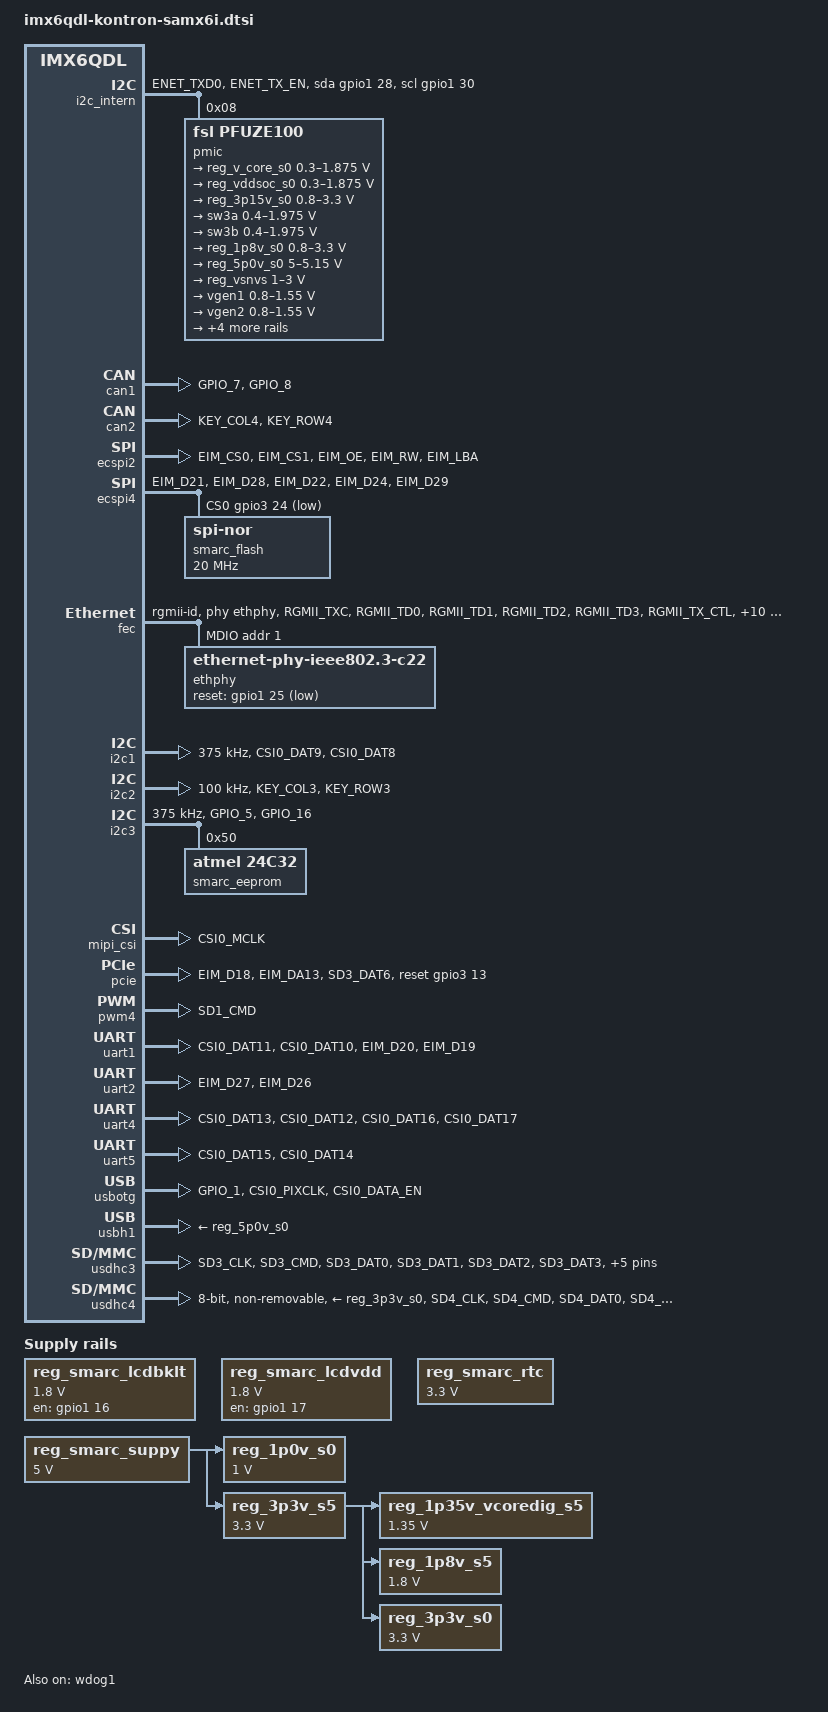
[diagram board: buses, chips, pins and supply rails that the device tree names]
// SPDX-License-Identifier: GPL-2.0 OR X11
/*
 * Copyright 2017 (C) Priit Laes <plaes@plaes.org>
 * Copyright 2018 (C) Pengutronix, Michael Grzeschik <mgr@pengutronix.de>
 * Copyright 2019 (C) Pengutronix, Marco Felsch <kernel@pengutronix.de>
 *
 * Based on initial work by Nikita Yushchenko <nyushchenko at dev.rtsoft.ru>
 */

#include <dt-bindings/gpio/gpio.h>
#include <dt-bindings/sound/fsl-imx-audmux.h>

/ {
	reg_1p0v_s0: regulator-1p0v-s0 {
		compatible = "regulator-fixed";
		regulator-name = "V_1V0_S0";
		regulator-min-microvolt = <1000000>;
		regulator-max-microvolt = <1000000>;
		regulator-always-on;
		regulator-boot-on;
		vin-supply = <&reg_smarc_suppy>;
	};

	reg_1p35v_vcoredig_s5: regulator-1p35v-vcoredig-s5 {
		compatible = "regulator-fixed";
		regulator-name = "V_1V35_VCOREDIG_S5";
		regulator-min-microvolt = <1350000>;
		regulator-max-microvolt = <1350000>;
		regulator-always-on;
		regulator-boot-on;
		vin-supply = <&reg_3p3v_s5>;
	};

	reg_1p8v_s5: regulator-1p8v-s5 {
		compatible = "regulator-fixed";
		regulator-name = "V_1V8_S5";
		regulator-min-microvolt = <1800000>;
		regulator-max-microvolt = <1800000>;
		regulator-always-on;
		regulator-boot-on;
		vin-supply = <&reg_3p3v_s5>;
	};

	reg_3p3v_s0: regulator-3p3v-s0 {
		compatible = "regulator-fixed";
		regulator-name = "V_3V3_S0";
		regulator-min-microvolt = <3300000>;
		regulator-max-microvolt = <3300000>;
		regulator-always-on;
		regulator-boot-on;
		vin-supply = <&reg_3p3v_s5>;
	};

	reg_3p3v_s5: regulator-3p3v-s5 {
		compatible = "regulator-fixed";
		regulator-name = "V_3V3_S5";
		regulator-min-microvolt = <3300000>;
		regulator-max-microvolt = <3300000>;
		regulator-always-on;
		regulator-boot-on;
		vin-supply = <&reg_smarc_suppy>;
	};

	reg_smarc_lcdbklt: regulator-smarc-lcdbklt {
		compatible = "regulator-fixed";
		pinctrl-names = "default";
		pinctrl-0 = <&pinctrl_lcdbklt_en>;
		regulator-name = "LCD_BKLT_EN";
		regulator-min-microvolt = <1800000>;
		regulator-max-microvolt = <1800000>;
		gpio = <&gpio1 16 GPIO_ACTIVE_HIGH>;
		enable-active-high;
	};

	reg_smarc_lcdvdd: regulator-smarc-lcdvdd {
		compatible = "regulator-fixed";
		pinctrl-names = "default";
		pinctrl-0 = <&pinctrl_lcdvdd_en>;
		regulator-name = "LCD_VDD_EN";
		regulator-min-microvolt = <1800000>;
		regulator-max-microvolt = <1800000>;
		gpio = <&gpio1 17 GPIO_ACTIVE_HIGH>;
		enable-active-high;
	};

	reg_smarc_rtc: regulator-smarc-rtc {
		compatible = "regulator-fixed";
		regulator-name = "V_IN_RTC_BATT";
		regulator-min-microvolt = <3300000>;
		regulator-max-microvolt = <3300000>;
		regulator-always-on;
		regulator-boot-on;
	};

	/* Module supply range can be 3.00V ... 5.25V */
	reg_smarc_suppy: regulator-smarc-supply {
		compatible = "regulator-fixed";
		regulator-name = "V_IN_WIDE";
		regulator-min-microvolt = <5000000>;
		regulator-max-microvolt = <5000000>;
		regulator-always-on;
		regulator-boot-on;
	};

	lcd: lcd {
		#address-cells = <1>;
		#size-cells = <0>;
		compatible = "fsl,imx-parallel-display";
		pinctrl-names = "default";
		pinctrl-0 = <&pinctrl_lcd>;
		status = "disabled";

		port@0 {
			reg = <0>;

			lcd_in: endpoint {
			};
		};

		port@1 {
			reg = <1>;

			lcd_out: endpoint {
			};
		};
	};

	lcd_backlight: lcd-backlight {
		compatible = "pwm-backlight";
		pwms = <&pwm4 0 5000000 0>;
		pwm-names = "LCD_BKLT_PWM";

		brightness-levels = <0 10 20 30 40 50 60 70 80 90 100>;
		default-brightness-level = <4>;

		power-supply = <&reg_smarc_lcdbklt>;
		status = "disabled";
	};

	i2c_intern: i2c-gpio-intern {
		compatible = "i2c-gpio";
		pinctrl-names = "default";
		pinctrl-0 = <&pinctrl_i2c_gpio_intern>;
		sda-gpios = <&gpio1 28 (GPIO_ACTIVE_HIGH | GPIO_OPEN_DRAIN)>;
		scl-gpios = <&gpio1 30 (GPIO_ACTIVE_HIGH | GPIO_OPEN_DRAIN)>;
		i2c-gpio,delay-us = <2>; /* ~100 kHz */
		#address-cells = <1>;
		#size-cells = <0>;
	};

	i2c_lcd: i2c-gpio-lcd {
		compatible = "i2c-gpio";
		pinctrl-names = "default";
		pinctrl-0 = <&pinctrl_i2c_gpio_lcd>;
		sda-gpios = <&gpio1 21 (GPIO_ACTIVE_HIGH | GPIO_OPEN_DRAIN)>;
		scl-gpios = <&gpio1 19 (GPIO_ACTIVE_HIGH | GPIO_OPEN_DRAIN)>;
		i2c-gpio,delay-us = <2>; /* ~100 kHz */
		#address-cells = <1>;
		#size-cells = <0>;
		status = "disabled";
	};

	i2c_cam: i2c-gpio-cam {
		compatible = "i2c-gpio";
		pinctrl-names = "default";
		pinctrl-0 = <&pinctrl_i2c_gpio_cam>;
		sda-gpios = <&gpio4 10 (GPIO_ACTIVE_HIGH | GPIO_OPEN_DRAIN)>;
		scl-gpios = <&gpio1 6 (GPIO_ACTIVE_HIGH | GPIO_OPEN_DRAIN)>;
		i2c-gpio,delay-us = <2>; /* ~100 kHz */
		#address-cells = <1>;
		#size-cells = <0>;
		status = "disabled";
	};
};

/* I2S0, I2S1 */
&audmux {
	pinctrl-names = "default";
	pinctrl-0 = <&pinctrl_audmux>;

	audmux_ssi1 {
		fsl,audmux-port = <MX51_AUDMUX_PORT1_SSI0>;
		fsl,port-config = <
			(IMX_AUDMUX_V2_PTCR_TFSEL(MX51_AUDMUX_PORT3) |
			 IMX_AUDMUX_V2_PTCR_TCSEL(MX51_AUDMUX_PORT3) |
			 IMX_AUDMUX_V2_PTCR_SYN    |
			 IMX_AUDMUX_V2_PTCR_TFSDIR |
			 IMX_AUDMUX_V2_PTCR_TCLKDIR)
			IMX_AUDMUX_V2_PDCR_RXDSEL(MX51_AUDMUX_PORT3)
		>;
	};

	audmux_adu3 {
		fsl,audmux-port = <MX51_AUDMUX_PORT3>;
		fsl,port-config = <
			IMX_AUDMUX_V2_PTCR_SYN
			IMX_AUDMUX_V2_PDCR_RXDSEL(MX51_AUDMUX_PORT1_SSI0)
		>;
	};

	audmux_ssi2 {
		fsl,audmux-port = <MX51_AUDMUX_PORT2_SSI1>;
		fsl,port-config = <
			(IMX_AUDMUX_V2_PTCR_TFSEL(MX51_AUDMUX_PORT4) |
			 IMX_AUDMUX_V2_PTCR_TCSEL(MX51_AUDMUX_PORT4) |
			 IMX_AUDMUX_V2_PTCR_SYN    |
			 IMX_AUDMUX_V2_PTCR_TFSDIR |
			 IMX_AUDMUX_V2_PTCR_TCLKDIR)
			IMX_AUDMUX_V2_PDCR_RXDSEL(MX51_AUDMUX_PORT4)
		>;
	};

	audmux_adu4 {
		fsl,audmux-port = <MX51_AUDMUX_PORT4>;
		fsl,port-config = <
			IMX_AUDMUX_V2_PTCR_SYN
			IMX_AUDMUX_V2_PDCR_RXDSEL(MX51_AUDMUX_PORT2_SSI1)
		>;
	};
};

/* CAN0 */
&can1 {
	pinctrl-names = "default";
	pinctrl-0 = <&pinctrl_flexcan1>;
};

/* CAN1 */
&can2 {
	pinctrl-names = "default";
	pinctrl-0 = <&pinctrl_flexcan2>;
};

/* SPI1 */
&ecspi2 {
	pinctrl-names = "default";
	pinctrl-0 = <&pinctrl_ecspi2>;
	cs-gpios = <&gpio2 26 GPIO_ACTIVE_LOW>,
		   <&gpio2 27 GPIO_ACTIVE_LOW>;
};

/* SPI0 */
&ecspi4 {
	pinctrl-names = "default";
	pinctrl-0 = <&pinctrl_ecspi4>;
	cs-gpios = <&gpio3 24 GPIO_ACTIVE_LOW>,
		   <&gpio3 29 GPIO_ACTIVE_LOW>;
	status = "okay";

	/* default boot source: workaround #1 for errata ERR006282 */
	smarc_flash: flash@0 {
		compatible = "jedec,spi-nor";
		reg = <0>;
		spi-max-frequency = <20000000>;
	};
};

/* GBE */
&fec {
	pinctrl-names = "default";
	pinctrl-0 = <&pinctrl_enet>;
	phy-connection-type = "rgmii-id";
	phy-handle = <&ethphy>;

	mdio {
		#address-cells = <1>;
		#size-cells = <0>;

		ethphy: ethernet-phy@1 {
			compatible = "ethernet-phy-ieee802.3-c22";
			reg = <1>;
			reset-gpios = <&gpio1 25 GPIO_ACTIVE_LOW>;
			reset-assert-us = <1000>;
		};
	};
};

&hdmi {
	ddc-i2c-bus = <&i2c2>;
};

&i2c_intern {
	pmic@8 {
		compatible = "fsl,pfuze100";
		reg = <0x08>;

		regulators {
			reg_v_core_s0: sw1ab {
				regulator-name = "V_CORE_S0";
				regulator-min-microvolt = <300000>;
				regulator-max-microvolt = <1875000>;
				regulator-boot-on;
				regulator-always-on;
			};

			reg_vddsoc_s0: sw1c {
				regulator-name = "V_VDDSOC_S0";
				regulator-min-microvolt = <300000>;
				regulator-max-microvolt = <1875000>;
				regulator-boot-on;
				regulator-always-on;
			};

			reg_3p15v_s0: sw2 {
				regulator-name = "V_3V15_S0";
				regulator-min-microvolt = <800000>;
				regulator-max-microvolt = <3300000>;
				regulator-boot-on;
				regulator-always-on;
			};

			/* sw3a/b is used in dual mode, but driver does not
			 * support it. Although, there's no need to control
			 * DDR power - so just leaving dummy entries for sw3a
			 * and sw3b for now.
			 */
			sw3a {
				regulator-min-microvolt = <400000>;
				regulator-max-microvolt = <1975000>;
				regulator-boot-on;
				regulator-always-on;
			};

			sw3b {
				regulator-min-microvolt = <400000>;
				regulator-max-microvolt = <1975000>;
				regulator-boot-on;
				regulator-always-on;
			};

			reg_1p8v_s0: sw4 {
				regulator-name = "V_1V8_S0";
				regulator-min-microvolt = <800000>;
				regulator-max-microvolt = <3300000>;
				regulator-boot-on;
				regulator-always-on;
			};

			/* Regulator for USB */
			reg_5p0v_s0: swbst {
				regulator-name = "V_5V0_S0";
				regulator-min-microvolt = <5000000>;
				regulator-max-microvolt = <5150000>;
				regulator-boot-on;
			};

			reg_vsnvs: vsnvs {
				regulator-min-microvolt = <1000000>;
				regulator-max-microvolt = <3000000>;
				regulator-boot-on;
				regulator-always-on;
			};

			reg_vrefddr: vrefddr {
				regulator-boot-on;
				regulator-always-on;
			};

			/*
			 * Per schematics, of all VGEN's, only VGEN5 has some
			 * usage ... but even that - over DNI resistor
			 */
			vgen1 {
				regulator-min-microvolt = <800000>;
				regulator-max-microvolt = <1550000>;
			};

			vgen2 {
				regulator-min-microvolt = <800000>;
				regulator-max-microvolt = <1550000>;
			};

			vgen3 {
				regulator-min-microvolt = <1800000>;
				regulator-max-microvolt = <3300000>;
			};

			vgen4 {
				regulator-min-microvolt = <1800000>;
				regulator-max-microvolt = <3300000>;
			};

			reg_2p5v_s0: vgen5 {
				regulator-name = "V_2V5_S0";
				regulator-min-microvolt = <1800000>;
				regulator-max-microvolt = <3300000>;
			};

			vgen6 {
				regulator-min-microvolt = <1800000>;
				regulator-max-microvolt = <3300000>;
			};
		};
	};
};

/* I2C_GP */
&i2c1 {
	clock-frequency = <375000>;
	pinctrl-names = "default";
	pinctrl-0 = <&pinctrl_i2c1>;
};

/* HDMI_CTRL */
&i2c2 {
	clock-frequency = <100000>;
	pinctrl-names = "default";
	pinctrl-0 = <&pinctrl_i2c2>;
};

/* I2C_PM */
&i2c3 {
	clock-frequency = <375000>;
	pinctrl-names = "default";
	pinctrl-0 = <&pinctrl_i2c3>;
	status = "okay";

	smarc_eeprom: eeprom@50 {
		compatible = "atmel,24c32";
		reg = <0x50>;
		pagesize = <32>;
	};
};

&iomuxc {
	pinctrl-names = "default";
	pinctrl-0 = <&pinctrl_mgmt_gpios &pinctrl_gpio>;

	pinctrl_audmux: audmuxgrp {
		fsl,pins = <
			MX6QDL_PAD_CSI0_DAT4__AUD3_TXC		0x130b0
			MX6QDL_PAD_CSI0_DAT5__AUD3_TXD		0x130b0
			MX6QDL_PAD_CSI0_DAT6__AUD3_TXFS		0x130b0
			MX6QDL_PAD_CSI0_DAT7__AUD3_RXD		0x130b0

			MX6QDL_PAD_DISP0_DAT20__AUD4_TXC	0x130b0
			MX6QDL_PAD_DISP0_DAT21__AUD4_TXD	0x130b0
			MX6QDL_PAD_DISP0_DAT22__AUD4_TXFS	0x130b0
			MX6QDL_PAD_DISP0_DAT23__AUD4_RXD	0x130b0

			/* AUDIO MCLK */
			MX6QDL_PAD_NANDF_CS2__CCM_CLKO2		0x000b0
		>;
	};

	pinctrl_ecspi2: ecspi2grp {
		fsl,pins = <
			MX6QDL_PAD_EIM_CS0__ECSPI2_SCLK 0x100b1
			MX6QDL_PAD_EIM_CS1__ECSPI2_MOSI 0x100b1
			MX6QDL_PAD_EIM_OE__ECSPI2_MISO  0x100b1

			MX6QDL_PAD_EIM_RW__GPIO2_IO26  0x1b0b0 /* CS0 */
			MX6QDL_PAD_EIM_LBA__GPIO2_IO27 0x1b0b0 /* CS1 */
		>;
	};

	pinctrl_ecspi4: ecspi4grp {
		fsl,pins = <
			MX6QDL_PAD_EIM_D21__ECSPI4_SCLK 0x100b1
			MX6QDL_PAD_EIM_D28__ECSPI4_MOSI 0x100b1
			MX6QDL_PAD_EIM_D22__ECSPI4_MISO 0x100b1

			/* SPI_IMX_CS2# - connected to internal flash */
			MX6QDL_PAD_EIM_D24__GPIO3_IO24 0x1b0b0
			/* SPI_IMX_CS0# - connected to SMARC SPI0_CS0# */
			MX6QDL_PAD_EIM_D29__GPIO3_IO29 0x1b0b0
		>;
	};

	pinctrl_flexcan1: flexcan1grp {
		fsl,pins = <
			MX6QDL_PAD_GPIO_7__FLEXCAN1_TX 0x1b0b0
			MX6QDL_PAD_GPIO_8__FLEXCAN1_RX 0x1b0b0
		>;
	};

	pinctrl_flexcan2: flexcan2grp {
		fsl,pins = <
			MX6QDL_PAD_KEY_COL4__FLEXCAN2_TX 0x1b0b0
			MX6QDL_PAD_KEY_ROW4__FLEXCAN2_RX 0x1b0b0
		>;
	};

	pinctrl_gpio: gpiogrp {
		fsl,pins = <
			MX6QDL_PAD_EIM_DA0__GPIO3_IO00	0x1b0b0	/* GPIO0 / CAM0_PWR# */
			MX6QDL_PAD_EIM_DA1__GPIO3_IO01	0x1b0b0 /* GPIO1 / CAM1_PWR# */
			MX6QDL_PAD_EIM_DA2__GPIO3_IO02	0x1b0b0 /* GPIO2 / CAM0_RST# */
			MX6QDL_PAD_EIM_DA3__GPIO3_IO03	0x1b0b0 /* GPIO3 / CAM1_RST# */
			MX6QDL_PAD_EIM_DA4__GPIO3_IO04	0x1b0b0 /* GPIO4 / HDA_RST#  */
			MX6QDL_PAD_EIM_DA5__GPIO3_IO05	0x1b0b0 /* GPIO5 / PWM_OUT   */
			MX6QDL_PAD_EIM_DA6__GPIO3_IO06	0x1b0b0 /* GPIO6 / TACHIN    */
			MX6QDL_PAD_EIM_DA7__GPIO3_IO07	0x1b0b0 /* GPIO7 / PCAM_FLD  */
			MX6QDL_PAD_EIM_DA8__GPIO3_IO08	0x1b0b0 /* GPIO8 / CAN0_ERR# */
			MX6QDL_PAD_EIM_DA9__GPIO3_IO09	0x1b0b0 /* GPIO9 / CAN1_ERR# */
			MX6QDL_PAD_EIM_DA10__GPIO3_IO10	0x1b0b0 /* GPIO10            */
			MX6QDL_PAD_EIM_DA11__GPIO3_IO11	0x1b0b0 /* GPIO11            */
		>;
	};

	pinctrl_enet: enetgrp {
		fsl,pins = <
			MX6QDL_PAD_RGMII_TXC__RGMII_TXC       0x1b0b0
			MX6QDL_PAD_RGMII_TD0__RGMII_TD0       0x1b0b0
			MX6QDL_PAD_RGMII_TD1__RGMII_TD1       0x1b0b0
			MX6QDL_PAD_RGMII_TD2__RGMII_TD2       0x1b0b0
			MX6QDL_PAD_RGMII_TD3__RGMII_TD3       0x1b0b0
			MX6QDL_PAD_RGMII_TX_CTL__RGMII_TX_CTL 0x1b0b0
			MX6QDL_PAD_RGMII_RXC__RGMII_RXC       0x1b0b0
			MX6QDL_PAD_RGMII_RD0__RGMII_RD0       0x1b0b0
			MX6QDL_PAD_RGMII_RD1__RGMII_RD1       0x1b0b0
			MX6QDL_PAD_RGMII_RD2__RGMII_RD2       0x1b0b0
			MX6QDL_PAD_RGMII_RD3__RGMII_RD3       0x1b0b0
			MX6QDL_PAD_RGMII_RX_CTL__RGMII_RX_CTL 0x1b0b0

			MX6QDL_PAD_ENET_MDIO__ENET_MDIO       0x1b0b0
			MX6QDL_PAD_ENET_MDC__ENET_MDC         0x1b0b0
			MX6QDL_PAD_ENET_REF_CLK__ENET_TX_CLK  0x1b0b0
			MX6QDL_PAD_ENET_CRS_DV__GPIO1_IO25    0x1b0b0 /* RST_GBE0_PHY# */
		>;
	};

	pinctrl_i2c_gpio_cam: i2c-gpiocamgrp {
		fsl,pins = <
			MX6QDL_PAD_GPIO_6__GPIO1_IO06	0x1b0b0 /* SCL */
			MX6QDL_PAD_KEY_COL2__GPIO4_IO10	0x1b0b0 /* SDA */
		>;
	};

	pinctrl_i2c_gpio_intern: i2c-gpiointerngrp {
		fsl,pins = <
			MX6QDL_PAD_ENET_TXD0__GPIO1_IO30  0x1b0b0 /* SCL */
			MX6QDL_PAD_ENET_TX_EN__GPIO1_IO28 0x1b0b0 /* SDA */
		>;
	};

	pinctrl_i2c_gpio_lcd: i2c-gpiolcdgrp {
		fsl,pins = <
			MX6QDL_PAD_SD1_DAT2__GPIO1_IO19 0x1b0b0 /* SCL */
			MX6QDL_PAD_SD1_DAT3__GPIO1_IO21 0x1b0b0 /* SDA */
		>;
	};

	pinctrl_i2c1: i2c1grp {
		fsl,pins = <
			MX6QDL_PAD_CSI0_DAT9__I2C1_SCL		0x4001b8b1
			MX6QDL_PAD_CSI0_DAT8__I2C1_SDA		0x4001b8b1
		>;
	};

	pinctrl_i2c2: i2c2grp {
		fsl,pins = <
			MX6QDL_PAD_KEY_COL3__I2C2_SCL		0x4001b8b1
			MX6QDL_PAD_KEY_ROW3__I2C2_SDA		0x4001b8b1
		>;
	};

	pinctrl_i2c3: i2c3grp {
		fsl,pins = <
			MX6QDL_PAD_GPIO_5__I2C3_SCL		0x4001b8b1
			MX6QDL_PAD_GPIO_16__I2C3_SDA		0x4001b8b1
		>;
	};

	pinctrl_lcd: lcdgrp {
		fsl,pins = <
			MX6QDL_PAD_DISP0_DAT0__IPU1_DISP0_DATA00  0x100f1
			MX6QDL_PAD_DISP0_DAT1__IPU1_DISP0_DATA01  0x100f1
			MX6QDL_PAD_DISP0_DAT2__IPU1_DISP0_DATA02  0x100f1
			MX6QDL_PAD_DISP0_DAT3__IPU1_DISP0_DATA03  0x100f1
			MX6QDL_PAD_DISP0_DAT4__IPU1_DISP0_DATA04  0x100f1
			MX6QDL_PAD_DISP0_DAT5__IPU1_DISP0_DATA05  0x100f1
			MX6QDL_PAD_DISP0_DAT6__IPU1_DISP0_DATA06  0x100f1
			MX6QDL_PAD_DISP0_DAT7__IPU1_DISP0_DATA07  0x100f1
			MX6QDL_PAD_DISP0_DAT8__IPU1_DISP0_DATA08  0x100f1
			MX6QDL_PAD_DISP0_DAT9__IPU1_DISP0_DATA09  0x100f1
			MX6QDL_PAD_DISP0_DAT10__IPU1_DISP0_DATA10 0x100f1
			MX6QDL_PAD_DISP0_DAT11__IPU1_DISP0_DATA11 0x100f1
			MX6QDL_PAD_DISP0_DAT12__IPU1_DISP0_DATA12 0x100f1
			MX6QDL_PAD_DISP0_DAT13__IPU1_DISP0_DATA13 0x100f1
			MX6QDL_PAD_DISP0_DAT14__IPU1_DISP0_DATA14 0x100f1
			MX6QDL_PAD_DISP0_DAT15__IPU1_DISP0_DATA15 0x100f1
			MX6QDL_PAD_DISP0_DAT16__IPU1_DISP0_DATA16 0x100f1
			MX6QDL_PAD_DISP0_DAT17__IPU1_DISP0_DATA17 0x100f1
			MX6QDL_PAD_DISP0_DAT18__IPU1_DISP0_DATA18 0x100f1
			MX6QDL_PAD_DISP0_DAT19__IPU1_DISP0_DATA19 0x100f1
			MX6QDL_PAD_DISP0_DAT20__IPU1_DISP0_DATA20 0x100f1
			MX6QDL_PAD_DISP0_DAT21__IPU1_DISP0_DATA21 0x100f1
			MX6QDL_PAD_DISP0_DAT22__IPU1_DISP0_DATA22 0x100f1
			MX6QDL_PAD_DISP0_DAT23__IPU1_DISP0_DATA23 0x100f1

			MX6QDL_PAD_DI0_DISP_CLK__IPU1_DI0_DISP_CLK 0x100f1
			MX6QDL_PAD_DI0_PIN15__IPU1_DI0_PIN15       0x100f1 /* DE */
			MX6QDL_PAD_DI0_PIN2__IPU1_DI0_PIN02        0x100f1 /* HSYNC */
			MX6QDL_PAD_DI0_PIN3__IPU1_DI0_PIN03        0x100f1 /* VSYNC */
		>;
	};

	pinctrl_lcdbklt_en: lcdbkltengrp {
		fsl,pins = <
			MX6QDL_PAD_SD1_DAT0__GPIO1_IO16	0x1b0b1
		>;
	};

	pinctrl_lcdvdd_en: lcdvddengrp {
		fsl,pins = <
			MX6QDL_PAD_SD1_DAT1__GPIO1_IO17 0x1b0b0
		>;
	};

	pinctrl_mipi_csi: mipi-csigrp {
		fsl,pins = <
			MX6QDL_PAD_CSI0_MCLK__CCM_CLKO1	0x000b0	/* CSI0/1 MCLK */
		>;
	};

	pinctrl_mgmt_gpios: mgmt-gpiosgrp {
		fsl,pins = <
			MX6QDL_PAD_EIM_WAIT__GPIO5_IO00		0x1b0b0	/* LID#           */
			MX6QDL_PAD_SD3_DAT7__GPIO6_IO17		0x1b0b0	/* SLEEP#         */
			MX6QDL_PAD_GPIO_17__GPIO7_IO12		0x1b0b0	/* CHARGING#      */
			MX6QDL_PAD_GPIO_0__GPIO1_IO00		0x1b0b0	/* CHARGER_PRSNT# */
			MX6QDL_PAD_SD1_CLK__GPIO1_IO20		0x1b0b0	/* CARRIER_STBY#  */
			MX6QDL_PAD_DI0_PIN4__GPIO4_IO20		0x1b0b0	/* BATLOW#        */
			MX6QDL_PAD_CSI0_VSYNC__GPIO5_IO21	0x1b0b0	/* TEST#          */
			MX6QDL_PAD_GPIO_2__GPIO1_IO02		0x1b0b0	/* VDD_IO_SEL_D#  */
			MX6QDL_PAD_NANDF_CS3__GPIO6_IO16	0x1b0b0 /* POWER_BTN#     */
		>;
	};

	pinctrl_pcie: pciegrp {
		fsl,pins = <
			MX6QDL_PAD_EIM_D18__GPIO3_IO18	0x1b0b0 /* PCI_A_PRSNT# */
			MX6QDL_PAD_EIM_DA13__GPIO3_IO13 0x1b0b0 /* RST_PCIE_A#  */
			MX6QDL_PAD_SD3_DAT6__GPIO6_IO18 0x1b0b0 /* PCIE_WAKE#   */
		>;
	};

	pinctrl_pwm4: pwm4grp {
		fsl,pins = <
			MX6QDL_PAD_SD1_CMD__PWM4_OUT 0x1b0b1
		>;
	};

	pinctrl_uart1: uart1grp {
		fsl,pins = <
			MX6QDL_PAD_CSI0_DAT11__UART1_RX_DATA 0x1b0b1
			MX6QDL_PAD_CSI0_DAT10__UART1_TX_DATA 0x1b0b1
			MX6QDL_PAD_EIM_D20__UART1_RTS_B 0x1b0b1
			MX6QDL_PAD_EIM_D19__UART1_CTS_B 0x1b0b1
		>;
	};

	pinctrl_uart2: uart2grp {
		fsl,pins = <
			MX6QDL_PAD_EIM_D27__UART2_RX_DATA 0x1b0b1
			MX6QDL_PAD_EIM_D26__UART2_TX_DATA 0x1b0b1
		>;
	};

	pinctrl_uart4: uart4grp {
		fsl,pins = <
			MX6QDL_PAD_CSI0_DAT13__UART4_RX_DATA 0x1b0b1
			MX6QDL_PAD_CSI0_DAT12__UART4_TX_DATA 0x1b0b1
			MX6QDL_PAD_CSI0_DAT16__UART4_RTS_B 0x1b0b1
			MX6QDL_PAD_CSI0_DAT17__UART4_CTS_B 0x1b0b1
		>;
	};

	pinctrl_uart5: uart5grp {
		fsl,pins = <
			MX6QDL_PAD_CSI0_DAT15__UART5_RX_DATA 0x1b0b1
			MX6QDL_PAD_CSI0_DAT14__UART5_TX_DATA 0x1b0b1
		>;
	};

	pinctrl_usbotg: usbotggrp {
		fsl,pins = <
			MX6QDL_PAD_GPIO_1__USB_OTG_ID 0x1f8b0
			/* power, oc muxed but not used by the driver */
			MX6QDL_PAD_CSI0_PIXCLK__GPIO5_IO18	0x1b0b0 /* USB power */
			MX6QDL_PAD_CSI0_DATA_EN__GPIO5_IO20	0x1b0b0 /* USB OC */
		>;
	};

	pinctrl_usdhc3: usdhc3grp {
		fsl,pins = <
			MX6QDL_PAD_SD3_CLK__SD3_CLK 0x17059
			MX6QDL_PAD_SD3_CMD__SD3_CMD 0x17059
			MX6QDL_PAD_SD3_DAT0__SD3_DATA0 0x17059
			MX6QDL_PAD_SD3_DAT1__SD3_DATA1 0x17059
			MX6QDL_PAD_SD3_DAT2__SD3_DATA2 0x17059
			MX6QDL_PAD_SD3_DAT3__SD3_DATA3 0x17059

			MX6QDL_PAD_NANDF_CS1__GPIO6_IO14 0x1b0b0 /* CD */
			MX6QDL_PAD_ENET_RXD1__GPIO1_IO26 0x1b0b0 /* WP */
			MX6QDL_PAD_ENET_TXD1__GPIO1_IO29 0x1b0b0 /* PWR_EN */
		>;
	};

	pinctrl_usdhc4: usdhc4grp {
		fsl,pins = <
			MX6QDL_PAD_SD4_CLK__SD4_CLK 0x17059
			MX6QDL_PAD_SD4_CMD__SD4_CMD 0x17059
			MX6QDL_PAD_SD4_DAT0__SD4_DATA0 0x17059
			MX6QDL_PAD_SD4_DAT1__SD4_DATA1 0x17059
			MX6QDL_PAD_SD4_DAT2__SD4_DATA2 0x17059
			MX6QDL_PAD_SD4_DAT3__SD4_DATA3 0x17059
			MX6QDL_PAD_SD4_DAT4__SD4_DATA4 0x17059
			MX6QDL_PAD_SD4_DAT5__SD4_DATA5 0x17059
			MX6QDL_PAD_SD4_DAT6__SD4_DATA6 0x17059
			MX6QDL_PAD_SD4_DAT7__SD4_DATA7 0x17059
		>;
	};

	pinctrl_wdog1: wdog1rp {
		fsl,pins = <
			MX6QDL_PAD_GPIO_9__WDOG1_B	0x1b0b0
		>;
	};
};

&mipi_csi {
	pinctrl-names = "default";
	pinctrl-0 = <&pinctrl_mipi_csi>;
};

&pcie {
	pinctrl-names = "default";
	pinctrl-0 = <&pinctrl_pcie>;
	wake-up-gpio = <&gpio6 18 GPIO_ACTIVE_HIGH>;
	reset-gpio = <&gpio3 13 GPIO_ACTIVE_HIGH>;
};

/* LCD_BKLT_PWM */
&pwm4 {
	pinctrl-names = "default";
	pinctrl-0 = <&pinctrl_pwm4>;
};

&reg_arm {
	vin-supply = <&reg_v_core_s0>;
};

&reg_pu {
	vin-supply = <&reg_vddsoc_s0>;
};

&reg_soc {
	vin-supply = <&reg_vddsoc_s0>;
};

/* SER0 */
&uart1 {
	pinctrl-names = "default";
	pinctrl-0 = <&pinctrl_uart1>;
	uart-has-rtscts;
};

/* SER1 */
&uart2 {
	pinctrl-names = "default";
	pinctrl-0 = <&pinctrl_uart2>;
};

/* SER2 */
&uart4 {
	pinctrl-names = "default";
	pinctrl-0 = <&pinctrl_uart4>;
	uart-has-rtscts;
};

/* SER3 */
&uart5 {
	pinctrl-names = "default";
	pinctrl-0 = <&pinctrl_uart5>;
};

/* USB0 */
&usbotg {
	/*
	 * no 'imx6-usb-charger-detection'
	 * since USB_OTG_CHD_B pin is not wired
	 */
	pinctrl-names = "default";
	pinctrl-0 = <&pinctrl_usbotg>;
};

/* USB1/2 via hub */
&usbh1 {
	vbus-supply = <&reg_5p0v_s0>;
};

/* SDIO */
&usdhc3 {
	pinctrl-names = "default";
	pinctrl-0 = <&pinctrl_usdhc3>;
	cd-gpios = <&gpio6 14 GPIO_ACTIVE_LOW>;
	wp-gpios = <&gpio1 26 GPIO_ACTIVE_HIGH>;
	no-1-8-v;
};

/* SDMMC */
&usdhc4 {
	/* Internal eMMC, optional on some boards */
	pinctrl-names = "default";
	pinctrl-0 = <&pinctrl_usdhc4>;
	bus-width = <8>;
	no-sdio;
	no-sd;
	non-removable;
	vmmc-supply = <&reg_3p3v_s0>;
	vqmmc-supply = <&reg_1p8v_s0>;
};

&wdog1 {
	/* CPLD is feeded by watchdog (hardwired) */
	pinctrl-names = "default";
	pinctrl-0 = <&pinctrl_wdog1>;
	status = "okay";
};
